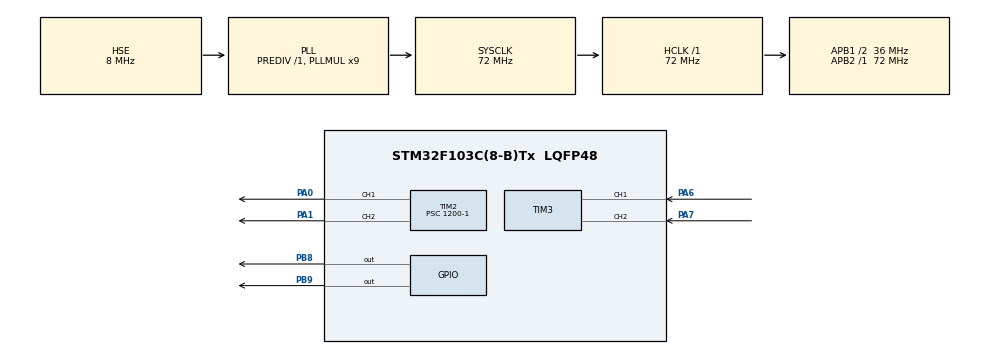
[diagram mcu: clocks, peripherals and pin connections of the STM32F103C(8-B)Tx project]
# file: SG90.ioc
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Mcu.Family=STM32F1
Mcu.Name=STM32F103C(8-B)Tx
Mcu.Package=LQFP48
NVIC.PriorityGroup=NVIC_PRIORITYGROUP_4
NVIC.TIM3_IRQn=true\:0\:0\:false\:false\:true\:true\:true\:true
PA0-WKUP.Signal=S_TIM2_CH1_ETR
PA1.Signal=S_TIM2_CH2
PA13.Mode=Serial_Wire
PA13.Signal=SYS_JTMS-SWDIO
PA14.Mode=Serial_Wire
PA14.Signal=SYS_JTCK-SWCLK
PA6.Signal=S_TIM3_CH1
PA7.Signal=S_TIM3_CH2
PB8.GPIO_ModeDefaultOutputPP=GPIO_MODE_OUTPUT_OD
PB8.GPIO_PuPd=GPIO_NOPULL
PB8.Signal=GPIO_Output
PB9.GPIO_ModeDefaultOutputPP=GPIO_MODE_OUTPUT_OD
PB9.GPIO_PuPd=GPIO_NOPULL
PB9.Signal=GPIO_Output
PD0-OSC_IN.Mode=HSE-External-Oscillator
PD0-OSC_IN.Signal=RCC_OSC_IN
PD1-OSC_OUT.Mode=HSE-External-Oscillator
PD1-OSC_OUT.Signal=RCC_OSC_OUT
ProjectManager.HeapSize=0x200
ProjectManager.StackSize=0x400
ProjectManager.TargetToolchain=MDK-ARM V5.32
RCC.AHBFreq_Value=72000000
RCC.APB1CLKDivider=RCC_HCLK_DIV2
RCC.APB1Freq_Value=36000000
RCC.APB1TimFreq_Value=72000000
RCC.APB2Freq_Value=72000000
RCC.APB2TimFreq_Value=72000000
RCC.HCLKFreq_Value=72000000
RCC.PLLMUL=RCC_PLL_MUL9
RCC.PLLSourceVirtual=RCC_PLLSOURCE_HSE
RCC.SYSCLKFreq_VALUE=72000000
RCC.SYSCLKSource=RCC_SYSCLKSOURCE_PLLCLK
RCC.USBFreq_Value=72000000
SH.S_TIM2_CH1_ETR.0=TIM2_CH1,PWM Generation1 CH1
SH.S_TIM2_CH2.0=TIM2_CH2,PWM Generation2 CH2
SH.S_TIM3_CH1.0=TIM3_CH1,Input_Capture1_from_TI1
SH.S_TIM3_CH2.0=TIM3_CH2,Input_Capture2_from_TI2
TIM2.Channel-PWM\ Generation1\ CH1=TIM_CHANNEL_1
TIM2.Channel-PWM\ Generation2\ CH2=TIM_CHANNEL_2
TIM2.Period=1200-1
TIM2.Prescaler=1200-1
TIM3.Channel-Input_Capture1_from_TI1=TIM_CHANNEL_1
TIM3.Channel-Input_Capture2_from_TI2=TIM_CHANNEL_2
VP_TIM2_VS_ClockSourceINT.Mode=Internal
VP_TIM3_VS_ClockSourceINT.Mode=Internal
board=custom

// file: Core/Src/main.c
/* USER CODE BEGIN Header */
/**
  ******************************************************************************
  * @file           : main.c
  * @brief          : Main program body
  ******************************************************************************
  * @attention
  *
  * Copyright (c) 2024 STMicroelectronics.
  * All rights reserved.
  *
  * This software is licensed under terms that can be found in the LICENSE file
  * in the root directory of this software component.
  * If no LICENSE file comes with this software, it is provided AS-IS.
  *
  ******************************************************************************
  */
/* USER CODE END Header */
#include "main.h"
#include "tim.h"
#include "gpio.h"

/* USER CODE BEGIN Includes */
#include "OLED.h"
#include "OLED_Data.h"
#include "SG90.h"
#include "Rotary_Encoder.h"
/* USER CODE END Includes */

void SystemClock_Config(void);

int main(void)
{

  /* MCU Configuration--------------------------------------------------------*/

  /* Reset of all peripherals, Initializes the Flash interface and the Systick. */
  HAL_Init();

  /* Configure the system clock */
  SystemClock_Config();

  /* Initialize all configured peripherals */
  MX_GPIO_Init();
  MX_TIM2_Init();
  MX_TIM3_Init();
  /* USER CODE BEGIN 2 */
	OLED_Init();
	HAL_TIM_PWM_Start(&htim2, TIM_CHANNEL_1);
	HAL_TIM_PWM_Start(&htim2, TIM_CHANNEL_2);
	HAL_TIM_IC_Start_IT(&htim3, TIM_CHANNEL_1);
	HAL_TIM_IC_Start_IT(&htim3, TIM_CHANNEL_2);

  /* USER CODE END 2 */

  /* Infinite loop */
  /* USER CODE BEGIN WHILE */

  while (1)
  {
		if (Rotary_Encoder_Count > 90) Rotary_Encoder_Count = 90;
		if (Rotary_Encoder_Count < 0) Rotary_Encoder_Count = 0;
		uint32_t angle_1 = Rotary_Encoder_Count * 2;
		uint32_t angle_2 = Rotary_Encoder_Count * 2;
		SteeringEngine_Control(TIM_CHANNEL_1, angle_1);
		SteeringEngine_Control(TIM_CHANNEL_2, angle_2);
		OLED_Clear();
		OLED_Printf(0, 0, 8, "Count = %d", Rotary_Encoder_Count * 2);
		OLED_Update();
		HAL_Delay(10);

    /* USER CODE END WHILE */

  }
}

void SystemClock_Config(void)
{
  RCC_OscInitTypeDef RCC_OscInitStruct = {0};
  RCC_ClkInitTypeDef RCC_ClkInitStruct = {0};

  /** Initializes the RCC Oscillators according to the specified parameters
  * in the RCC_OscInitTypeDef structure.
  */
  RCC_OscInitStruct.OscillatorType = RCC_OSCILLATORTYPE_HSE;
  RCC_OscInitStruct.HSEState = RCC_HSE_ON;
  RCC_OscInitStruct.HSEPredivValue = RCC_HSE_PREDIV_DIV1;
  RCC_OscInitStruct.HSIState = RCC_HSI_ON;
  RCC_OscInitStruct.PLL.PLLState = RCC_PLL_ON;
  RCC_OscInitStruct.PLL.PLLSource = RCC_PLLSOURCE_HSE;
  RCC_OscInitStruct.PLL.PLLMUL = RCC_PLL_MUL9;
  if (HAL_RCC_OscConfig(&RCC_OscInitStruct) != HAL_OK)
  {
    Error_Handler();
  }

  /** Initializes the CPU, AHB and APB buses clocks
  */
  RCC_ClkInitStruct.ClockType = RCC_CLOCKTYPE_HCLK|RCC_CLOCKTYPE_SYSCLK
                              |RCC_CLOCKTYPE_PCLK1|RCC_CLOCKTYPE_PCLK2;
  RCC_ClkInitStruct.SYSCLKSource = RCC_SYSCLKSOURCE_PLLCLK;
  RCC_ClkInitStruct.AHBCLKDivider = RCC_SYSCLK_DIV1;
  RCC_ClkInitStruct.APB1CLKDivider = RCC_HCLK_DIV2;
  RCC_ClkInitStruct.APB2CLKDivider = RCC_HCLK_DIV1;

  if (HAL_RCC_ClockConfig(&RCC_ClkInitStruct, FLASH_LATENCY_2) != HAL_OK)
  {
    Error_Handler();
  }
}

void Error_Handler(void)
{
  __disable_irq();
  while (1)
  {
  }
}
